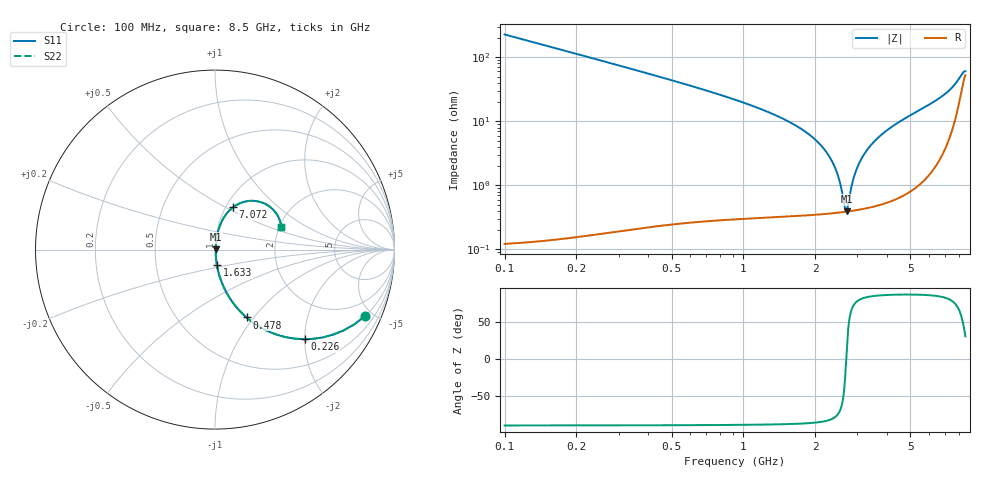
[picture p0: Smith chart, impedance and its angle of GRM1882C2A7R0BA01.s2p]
!Murata Part Number: GRM1882C2A7R0BA01
!These Parameters are Measured in Series Mode Connection
!Data Generated on Mar 30, 2021
!  o--ll--o
!Port1  Port2
!  o------o
!Operation Temp=25[degC], DC Bias Voltage=0[V]
!Freq. Start=100[MHz] Stop=9[GHz] 401[Steps]
# Hz S RI R 50
!Freq.(Hz) S11(Real) S11(Imag) S21(Real) S21(Imag) S12(Real) S12(Imag) S22(Real) S22(Imag)
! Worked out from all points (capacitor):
!   401 points, 100 MHz to 8.5 GHz, reference 50 ohm
!   read as one part in series: C = 7 pF near 142 MHz
!   lowest |Z| = 394 mohm at 2.704 GHz (marker M1)
!   series resonance near 2.694 GHz, so ESL is about 500 pH
!   S11 on the Smith chart (normalised r, x): 100 MHz: 1.00, -4.54; 226 MHz: 1.00, -2.00; 478 MHz: 1.00, -0.92; 1.633 GHz: 1.01, -0.18; 7.072 GHz: 1.08, +0.55; 8.5 GHz: 2.05, +0.61
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1e8  0.8373 -0.3688  0.1627 0.3688  0.1627 0.3688  0.8373 -0.3688
2.26e8  0.4991 -0.4992  0.5009 0.4992  0.5009 0.4992  0.4991 -0.4992
3.31e8  0.314 -0.4626  0.686 0.4626  0.686 0.4626  0.314 -0.4626
4.78e8  0.176 -0.3782  0.824 0.3782  0.824 0.3782  0.176 -0.3782
8.35e8  0.0595 -0.2307  0.9405 0.2307  0.9405 0.2307  0.0595 -0.2307
1.507e9  0.0139 -0.1024  0.9861 0.1024  0.9861 0.1024  0.0139 -0.1024
1.633e9  0.011 -0.0873  0.989 0.0873  0.989 0.0873  0.011 -0.0873
2.053e9  0.00567 -0.0465  0.9943 0.0465  0.9943 0.0465  0.00567 -0.0465
2.326e9  0.00427 -0.0251  0.9957 0.0251  0.9957 0.0251  0.00427 -0.0251
2.494e9  0.00391 -0.0132  0.9961 0.0132  0.9961 0.0132  0.00391 -0.0132
2.662e9  0.00385 -0.00206  0.9961 0.00206  0.9961 0.00206  0.00385 -0.00206
2.704e9  0.00388 0.00062  0.9961 -0.00062  0.9961 -0.00062  0.00388 0.00062
2.914e9  0.00422 0.0135  0.9958 -0.0135  0.9958 -0.0135  0.00422 0.0135
3.103e9  0.00481 0.0245  0.9952 -0.0245  0.9952 -0.0245  0.00481 0.0245
3.397e9  0.00617 0.0406  0.9938 -0.0406  0.9938 -0.0406  0.00617 0.0406
3.775e9  0.00865 0.0603  0.9913 -0.0603  0.9913 -0.0603  0.00865 0.0603
4.3e9  0.0135 0.0863  0.9865 -0.0863  0.9865 -0.0863  0.0135 0.0863
5.707e9  0.0371 0.1561  0.9629 -0.1561  0.9629 -0.1561  0.0371 0.1561
7.072e9  0.1017 0.2368  0.8983 -0.2368  0.8983 -0.2368  0.1017 0.2368
7.114e9  0.1055 0.2396  0.8945 -0.2396  0.8945 -0.2396  0.1055 0.2396
7.975e9  0.2497 0.266  0.7503 -0.266  0.7503 -0.266  0.2497 0.266
8.5e9  0.3698 0.1255  0.6302 -0.1255  0.6302 -0.1255  0.3698 0.1255
